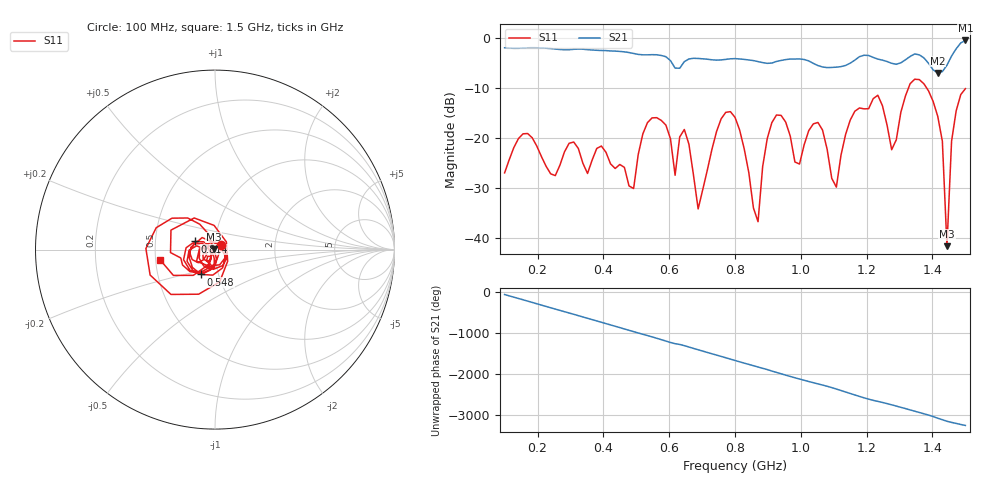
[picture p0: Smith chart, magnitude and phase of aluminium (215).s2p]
! NanoVNA-App
! Date: 2025-09-25 14:56:57
! Start: 100MHz Stop: 1,5GHz Points: 101
! S-Parameter data: F S11 S21 S12 S22
# Hz S RI R 50
!  Frequency  S11_Real  S11_Imag  S21_Real  S21_Imag  S12_Real  S12_Imag  S22_Real  S22_Imag
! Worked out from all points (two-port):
!   101 points, 100 MHz to 1.5 GHz, reference 50 ohm
!   highest |S21| = -0.46 dB at 1.5 GHz (marker M1); lowest = -6.9 dB at 1.416 GHz (marker M2)
!   |S21| within 3 dB of the highest: start of sweep to 575.2 MHz; 1.459 GHz to end of sweep (the widest 2 of 4)
!   lowest |S11| = -41.6 dB at 1.444 GHz (marker M3), VSWR 1.02, Z = 49.3 + j0.385 ohm
!   |S11| at or under -10 dB: start of sweep to 1.327 GHz; 1.383 GHz to end of sweep
!   S12 and S22 are empty: the file has one direction only
!   S11 on the Smith chart (normalised r, x): 100 MHz: 1.07, +0.06; 548 MHz: 0.82, -0.23; 814 MHz: 0.80, +0.07; 1.5 GHz: 0.53, -0.06
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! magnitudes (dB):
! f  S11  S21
! 100 MHz  -27.0  -1.9
! 338 MHz  -25.1  -2.2
! 492 MHz  -30.1  -3.1
! 548 MHz  -16.0  -3.3
! 576 MHz  -16.5  -3.5
! 618 MHz  -27.4  -6.0
! 646 MHz  -18.3  -4.7
! 688 MHz  -34.2  -4.1
! 800 MHz  -15.8  -4.1
! 814 MHz  -18.4  -4.2
! 870 MHz  -36.7  -4.7
! 912 MHz  -16.9  -5.0
! 996 MHz  -25.2  -4.2
! 1.038 GHz  -17.1  -5.0
! 1.108 GHz  -29.8  -5.8
! 1.234 GHz  -11.4  -4.2
! 1.276 GHz  -22.3  -5.0
! 1.346 GHz  -8.2  -3.2
! 1.416 GHz  -15.6  -6.9
! 1.444 GHz  -41.6  -5.4
! 1.458 GHz  -20.6  -3.6
! 1.5 GHz  -10.1  -0.5
